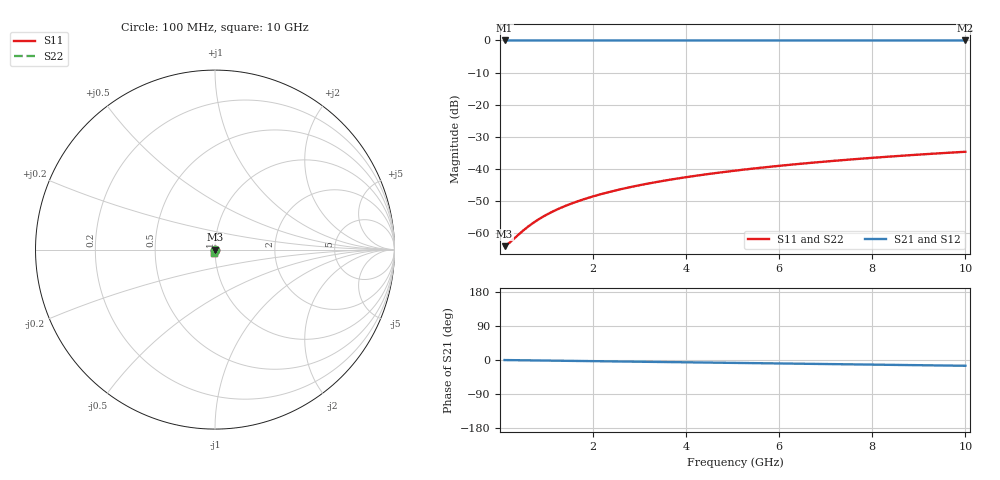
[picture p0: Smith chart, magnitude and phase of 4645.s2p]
# Hz S RI R 50.00
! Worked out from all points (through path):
!   100 points, 100 MHz to 10 GHz, reference 50 ohm
!   highest |S21| = -0.01 dB at 100 MHz (marker M1); lowest = 0.0 dB at 10 GHz (marker M2)
!   group delay of S21, straight-line fit = 4.24 ps
!   lowest |S11| = -64.0 dB at 100 MHz (marker M3), VSWR 1.00, Z = 50.1 - j0.0187 ohm
!   |S11| at or under -10 dB: start of sweep to end of sweep
!   |S22| runs from -64.0 to -34.6 dB; largest |S21 - S12| = 0
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1e8  0.000605 -0.000186  0.9994 -0.00264  0.9994 -0.00264  0.000605 -0.000186
2e8  0.000606 -0.000373  0.9994 -0.00527  0.9994 -0.00527  0.000606 -0.000373
5e8  0.0006 -0.000932  0.9993 -0.0132  0.9993 -0.0132  0.0006 -0.000932
6e8  0.000595 -0.00112  0.9992 -0.0158  0.9992 -0.0158  0.000595 -0.00112
7e8  0.000589 -0.00131  0.9992 -0.0185  0.9992 -0.0185  0.000589 -0.00131
9e8  0.000574 -0.00168  0.9991 -0.0237  0.9991 -0.0237  0.000574 -0.00168
1.1e9  0.000554 -0.00205  0.9989 -0.029  0.9989 -0.029  0.000554 -0.00205
1.3e9  0.00053 -0.00243  0.9988 -0.0343  0.9988 -0.0343  0.00053 -0.00243
1.5e9  0.000502 -0.0028  0.9986 -0.0396  0.9986 -0.0396  0.000502 -0.0028
1.8e9  0.000453 -0.00336  0.9982 -0.0475  0.9982 -0.0475  0.000453 -0.00336
2.1e9  0.000394 -0.00393  0.9978 -0.0554  0.9978 -0.0554  0.000394 -0.00393
2.5e9  0.000301 -0.00467  0.9971 -0.0659  0.9971 -0.0659  0.000301 -0.00467
2.9e9  0.000192 -0.00542  0.9964 -0.0765  0.9964 -0.0765  0.000192 -0.00542
3.4e9  3.37e-05 -0.00636  0.9952 -0.0897  0.9952 -0.0897  3.37e-05 -0.00636
3.8e9  -0.000111 -0.00711  0.9942 -0.1002  0.9942 -0.1002  -0.000111 -0.00711
4.2e9  -0.000272 -0.00785  0.9931 -0.1108  0.9931 -0.1108  -0.000272 -0.00785
5.1e9  -0.000693 -0.00952  0.9901 -0.1345  0.9901 -0.1345  -0.000693 -0.00952
5.9e9  -0.00114 -0.011  0.987 -0.1556  0.987 -0.1556  -0.00114 -0.011
6.7e9  -0.00164 -0.0124  0.9834 -0.1766  0.9834 -0.1766  -0.00164 -0.0124
7.5e9  -0.0022 -0.0139  0.9794 -0.1976  0.9794 -0.1976  -0.0022 -0.0139
8.4e9  -0.00291 -0.0154  0.9743 -0.2211  0.9743 -0.2211  -0.00291 -0.0154
1e10  -0.00435 -0.0181  0.9638 -0.2628  0.9638 -0.2628  -0.00435 -0.0181
